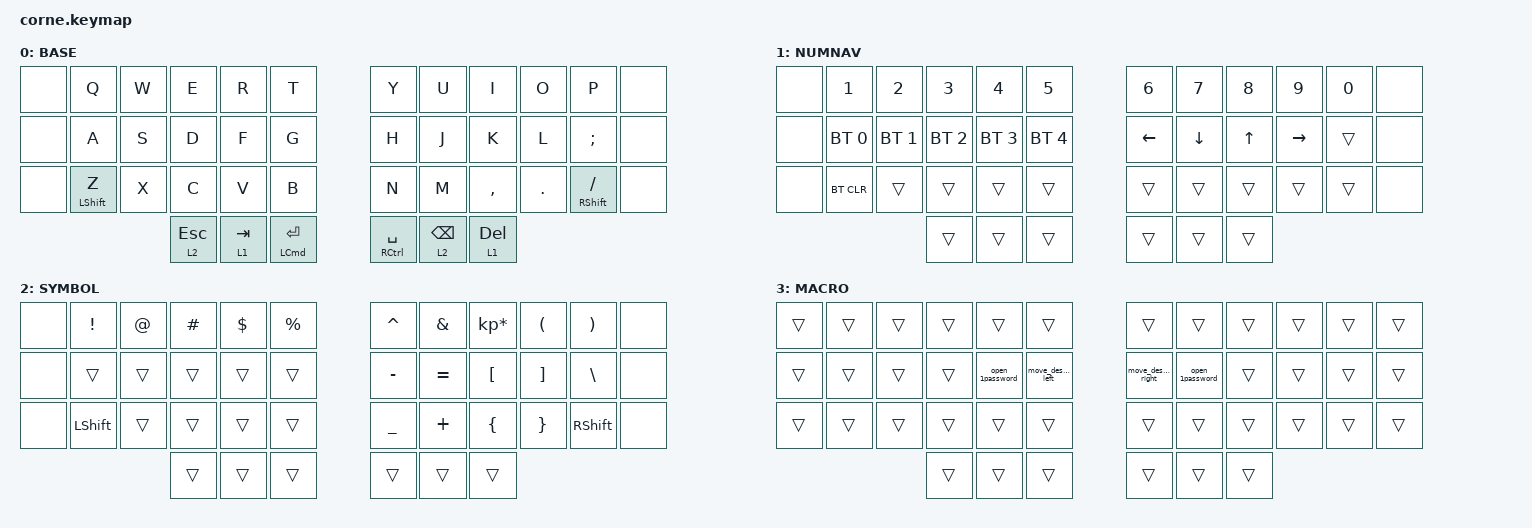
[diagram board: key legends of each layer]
/*
 * Copyright (c) 2020 The ZMK Contributors
 *
 * SPDX-License-Identifier: MIT
 */

#include <behaviors.dtsi>
#include <dt-bindings/zmk/bt.h>
#include <dt-bindings/zmk/keys.h>

/ {
    macros {
        move_desktop_left: move_desktop_left {
            compatible = "zmk,behavior-macro";
            #binding-cells = <0>;
            bindings = <&kp LC(LEFT)>;
            label = "MOVE_DESKTOP_LEFT";
        };

        move_desktop_right: move_desktop_right {
            compatible = "zmk,behavior-macro";
            #binding-cells = <0>;
            bindings = <&kp LC(RIGHT)>;
            label = "MOVE_DESKTOP_RIGHT";
        };

        open_1password: open_1password {
            compatible = "zmk,behavior-macro";
            #binding-cells = <0>;
            bindings = <&kp LG(LS(SPACE))>;
            label = "OPEN_1PASSWORD";
        };
    };

    keymap {
        compatible = "zmk,keymap";

        default_layer {
            // -----------------------------------------------------------------------------------------
            // |  TAB |  Q  |  W  |  E  |  R  |  T  |   |  Y  |  U   |  I  |  O  |  P  | BKSP |
            // | CTRL |  A  |  S  |  D  |  F  |  G  |   |  H  |  J   |  K  |  L  |  ;  |  '   |
            // | SHFT |  Z  |  X  |  C  |  V  |  B  |   |  N  |  M   |  ,  |  .  |  /  | ESC  |
            //                    | GUI | LWR | SPC |   | ENT | RSE  | ALT |

            bindings = <
&none  &kp Q             &kp W  &kp E         &kp R      &kp T                     &kp Y                    &kp U            &kp I         &kp O    &kp P                 &none
&none  &kp A             &kp S  &kp D         &kp F      &kp G                     &kp H                    &kp J            &kp K         &kp L    &kp SEMI              &none
&none  &mt LEFT_SHIFT Z  &kp X  &kp C         &kp V      &kp B                     &kp N                    &kp M            &kp COMMA     &kp DOT  &mt RIGHT_SHIFT FSLH  &none
                                &lt 2 ESCAPE  &lt 1 TAB  &mt LEFT_COMMAND ENTER    &mt RIGHT_CONTROL SPACE  &lt 2 BACKSPACE  &lt 1 DELETE
            >;

            label = "BASE";
        };

        lower_layer {
            // -----------------------------------------------------------------------------------------
            // |  TAB |  1  |  2  |  3  |  4  |  5  |   |  6  |  7  |  8  |  9  |  0  | BKSP |
            // | BTCLR| BT1 | BT2 | BT3 | BT4 | BT5 |   | LFT | DWN |  UP | RGT |     |      |
            // | SHFT |     |     |     |     |     |   |     |     |     |     |     |      |
            //                    | GUI |     | SPC |   | ENT |     | ALT |

            bindings = <
&none  &kp N1        &kp N2        &kp N3        &kp N4        &kp N5          &kp N6    &kp N7    &kp N8  &kp N9     &kp N0  &none
&none  &bt BT_SEL 0  &bt BT_SEL 1  &bt BT_SEL 2  &bt BT_SEL 3  &bt BT_SEL 4    &kp LEFT  &kp DOWN  &kp UP  &kp RIGHT  &trans  &none
&none  &bt BT_CLR    &trans        &trans        &trans        &trans          &trans    &trans    &trans  &trans     &trans  &none
                                   &trans        &trans        &trans          &trans    &trans    &trans
            >;

            label = "NUMNAV";
        };

        raise_layer {
            // -----------------------------------------------------------------------------------------
            // |  TAB |  !  |  @  |  #  |  $  |  %  |   |  ^  |  &  |  *  |  (  |  )  | BKSP |
            // | CTRL |     |     |     |     |     |   |  -  |  =  |  [  |  ]  |  \  |  `   |
            // | SHFT |     |     |     |     |     |   |  _  |  +  |  {  |  }  | "|" |  ~   |
            //                    | GUI |     | SPC |   | ENT |     | ALT |

            bindings = <
&none  &kp EXCL        &kp AT  &kp HASH  &kp DLLR  &kp PRCNT    &kp CARET  &kp AMPS   &kp KP_MULTIPLY  &kp LPAR  &kp RPAR         &none
&none  &trans          &trans  &trans    &trans    &trans       &kp MINUS  &kp EQUAL  &kp LBKT         &kp RBKT  &kp BSLH         &none
&none  &kp LEFT_SHIFT  &trans  &trans    &trans    &trans       &kp UNDER  &kp PLUS   &kp LBRC         &kp RBRC  &kp RIGHT_SHIFT  &none
                               &trans    &trans    &trans       &trans     &trans     &trans
            >;

            label = "SYMBOL";
        };

        macro_layer {
            bindings = <
&trans  &trans  &trans  &trans  &trans           &trans                &trans               &trans           &trans  &trans  &trans  &trans
&trans  &trans  &trans  &trans  &open_1password  &move_desktop_left    &move_desktop_right  &open_1password  &trans  &trans  &trans  &trans
&trans  &trans  &trans  &trans  &trans           &trans                &trans               &trans           &trans  &trans  &trans  &trans
                        &trans  &trans           &trans                &trans               &trans           &trans
            >;

            label = "MACRO";
        };
    };

    conditional_layers {
        compatible = "zmk,conditional-layers";

        to_macro_layer {
            if-layers = <1 2>;
            then-layer = <3>;
        };
    };
};
